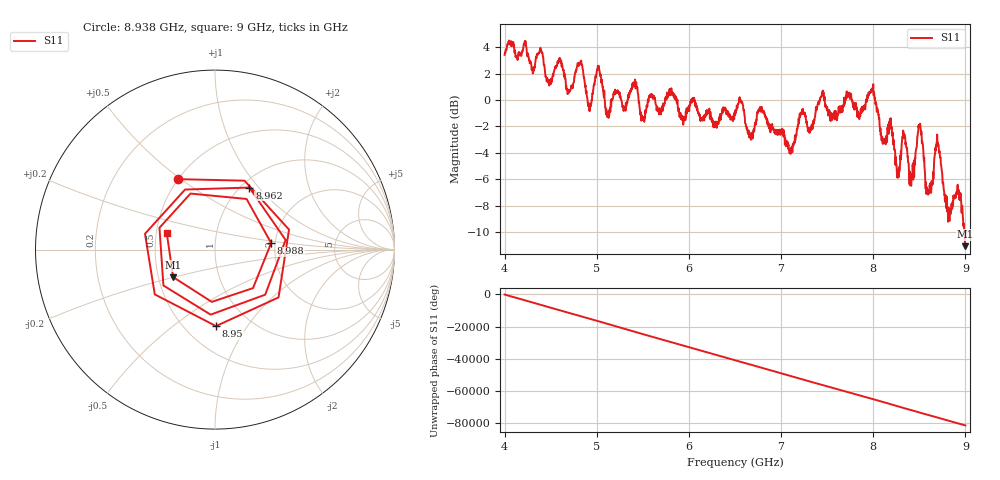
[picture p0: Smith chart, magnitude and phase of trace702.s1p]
! Created with skrf 1.8.0 (http://scikit-rf.org).
# Hz S RI R 50.0
!freq ReS11 ImS11
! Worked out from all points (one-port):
!   1601 points, 4 GHz to 9 GHz, reference 50 ohm
!   lowest |S11| = -11.1 dB at 8.997 GHz (marker M1), VSWR 1.77, Z = 29.9 - j9.94 ohm
!   |S11| at or under -10 dB: 8.987709 GHz to end of sweep
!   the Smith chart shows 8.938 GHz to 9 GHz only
!   S11 on the Smith chart (normalised r, x): 8.938 GHz: 0.50, +0.49; 8.95 GHz: 0.70, -0.73; 8.962 GHz: 1.09, +0.89; 8.988 GHz: 1.90, +0.15; 9 GHz: 0.57, +0.11
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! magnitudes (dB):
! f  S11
! 4 GHz  3.4
! 4.625 GHz  2.6
! 4.697 GHz  0.6
! 4.825 GHz  2.8
! 4.922 GHz  -0.6
! 5.009 GHz  2.3
! 5.116 GHz  -1.0
! 5.25 GHz  0.2
! 5.875 GHz  0.0
! 6.5 GHz  -0.8
! 7.125 GHz  -3.6
! 7.225 GHz  -1.0
! 7.75 GHz  0.5
! 7.988 GHz  0.9
! 8.266 GHz  -5.9
! 8.331 GHz  -2.7
! 8.375 GHz  -4.3
! 8.419 GHz  -5.6
! 8.503 GHz  -1.9
! 8.591 GHz  -6.9
! 8.697 GHz  -3.4
! 8.812 GHz  -9.2
! 8.938 GHz  -7.1
! 8.95 GHz  -7.4
! 8.962 GHz  -8.1
! 8.988 GHz  -10.0
! 8.997 GHz  -11.1
! 9 GHz  -11.0
